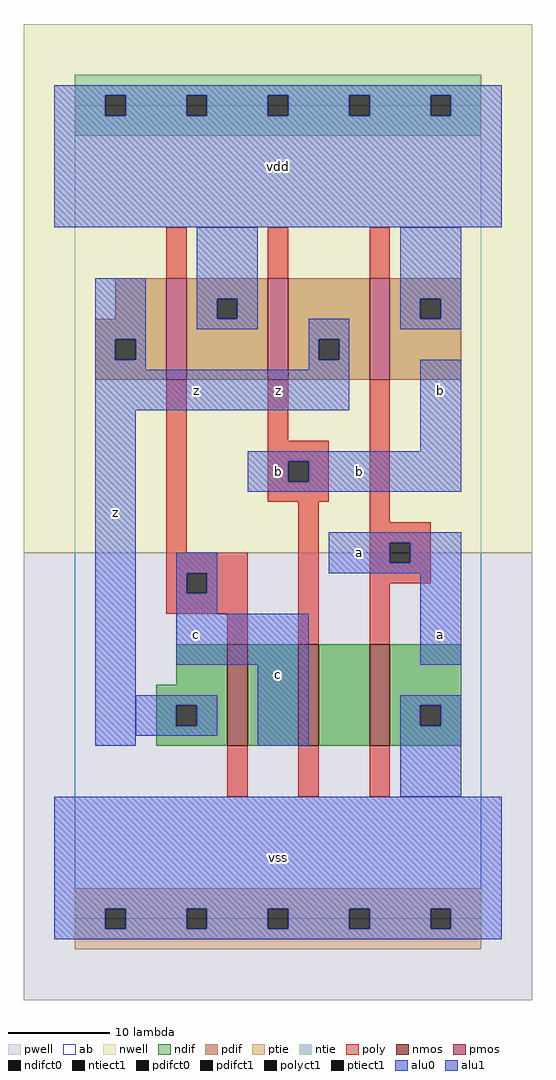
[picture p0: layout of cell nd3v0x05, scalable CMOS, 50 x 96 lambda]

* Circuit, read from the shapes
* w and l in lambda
.subckt nd3v0x05 a b c vdd vss z
M1 n1 c z vss nfet w=10 l=2
M2 n2 b n1 vss nfet w=10 l=2
M3 vss a n2 vss nfet w=10 l=2
M4 vdd c z vdd pfet w=10 l=2
M5 z b vdd vdd pfet w=10 l=2
M6 vdd a z vdd pfet w=10 l=2
.ends

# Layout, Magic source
magic
tech scmos
<< ab >>
rect 0 0 40 80
<< nwell >>
rect -5 36 45 88
<< pwell >>
rect -5 -8 45 36
<< poly >>
rect 9 63 11 68
rect 19 63 21 68
rect 29 63 31 68
rect 9 36 11 53
rect 19 47 21 53
rect 19 45 25 47
rect 19 43 21 45
rect 23 43 25 45
rect 19 41 25 43
rect 9 34 17 36
rect 9 32 11 34
rect 13 32 17 34
rect 9 30 17 32
rect 15 27 17 30
rect 22 27 24 41
rect 29 39 31 53
rect 29 37 35 39
rect 29 35 31 37
rect 33 35 35 37
rect 29 33 35 35
rect 29 27 31 33
rect 15 12 17 17
rect 22 12 24 17
rect 29 12 31 17
<< ndif >>
rect 10 23 15 27
rect 8 21 15 23
rect 8 19 10 21
rect 12 19 15 21
rect 8 17 15 19
rect 17 17 22 27
rect 24 17 29 27
rect 31 21 38 27
rect 31 19 34 21
rect 36 19 38 21
rect 31 17 38 19
<< pdif >>
rect 4 59 9 63
rect 2 57 9 59
rect 2 55 4 57
rect 6 55 9 57
rect 2 53 9 55
rect 11 61 19 63
rect 11 59 14 61
rect 16 59 19 61
rect 11 53 19 59
rect 21 57 29 63
rect 21 55 24 57
rect 26 55 29 57
rect 21 53 29 55
rect 31 61 38 63
rect 31 59 34 61
rect 36 59 38 61
rect 31 53 38 59
<< alu1 >>
rect -2 81 42 82
rect -2 79 3 81
rect 5 79 11 81
rect 13 79 19 81
rect 21 79 27 81
rect 29 79 35 81
rect 37 79 42 81
rect -2 68 42 79
rect 2 57 7 63
rect 2 55 4 57
rect 6 55 7 57
rect 2 54 7 55
rect 23 57 27 59
rect 23 55 24 57
rect 26 55 27 57
rect 23 54 27 55
rect 2 50 27 54
rect 2 17 6 50
rect 34 46 38 55
rect 17 45 38 46
rect 17 43 21 45
rect 23 43 38 45
rect 17 42 38 43
rect 25 37 38 38
rect 10 34 14 36
rect 25 35 31 37
rect 33 35 38 37
rect 25 34 38 35
rect 10 32 11 34
rect 13 32 14 34
rect 10 30 14 32
rect 10 25 23 30
rect 34 25 38 34
rect 18 17 23 25
rect -2 1 42 12
rect -2 -1 3 1
rect 5 -1 11 1
rect 13 -1 19 1
rect 21 -1 27 1
rect 29 -1 35 1
rect 37 -1 42 1
rect -2 -2 42 -1
<< ptie >>
rect 0 1 40 3
rect 0 -1 3 1
rect 5 -1 11 1
rect 13 -1 19 1
rect 21 -1 27 1
rect 29 -1 35 1
rect 37 -1 40 1
rect 0 -3 40 -1
<< ntie >>
rect 0 81 40 83
rect 0 79 3 81
rect 5 79 11 81
rect 13 79 19 81
rect 21 79 27 81
rect 29 79 35 81
rect 37 79 40 81
rect 0 77 40 79
<< nmos >>
rect 15 17 17 27
rect 22 17 24 27
rect 29 17 31 27
<< pmos >>
rect 9 53 11 63
rect 19 53 21 63
rect 29 53 31 63
<< polyct1 >>
rect 21 43 23 45
rect 11 32 13 34
rect 31 35 33 37
<< ndifct0 >>
rect 10 19 12 21
rect 34 19 36 21
<< ntiect1 >>
rect 3 79 5 81
rect 11 79 13 81
rect 19 79 21 81
rect 27 79 29 81
rect 35 79 37 81
<< ptiect1 >>
rect 3 -1 5 1
rect 11 -1 13 1
rect 19 -1 21 1
rect 27 -1 29 1
rect 35 -1 37 1
<< pdifct0 >>
rect 14 59 16 61
rect 34 59 36 61
<< pdifct1 >>
rect 4 55 6 57
rect 24 55 26 57
<< alu0 >>
rect 12 61 18 68
rect 12 59 14 61
rect 16 59 18 61
rect 32 61 38 68
rect 32 59 34 61
rect 36 59 38 61
rect 12 58 18 59
rect 32 58 38 59
rect 6 21 14 22
rect 6 19 10 21
rect 12 19 14 21
rect 6 18 14 19
rect 32 21 38 22
rect 32 19 34 21
rect 36 19 38 21
rect 32 12 38 19
<< labels >>
rlabel alu1 4 40 4 40 6 z
rlabel alu1 12 28 12 28 6 c
rlabel alu1 12 52 12 52 6 z
rlabel alu1 20 6 20 6 6 vss
rlabel alu1 20 24 20 24 6 c
rlabel alu1 28 36 28 36 6 a
rlabel alu1 28 44 28 44 6 b
rlabel alu1 20 44 20 44 6 b
rlabel alu1 20 52 20 52 6 z
rlabel alu1 20 74 20 74 6 vdd
rlabel alu1 36 28 36 28 6 a
rlabel alu1 36 52 36 52 6 b
<< end >>
